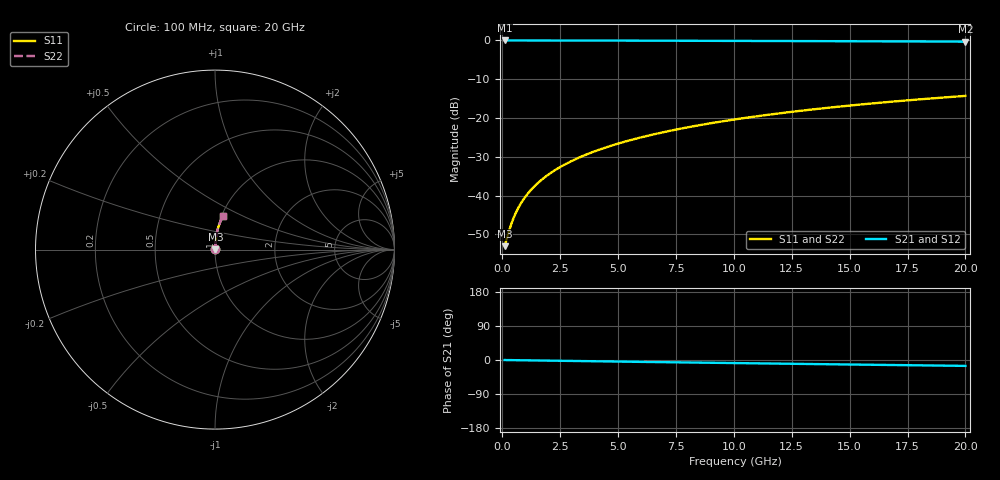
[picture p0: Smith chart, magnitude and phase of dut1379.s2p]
! Touchstone file exported from HFSS 2024.1.0
!  File:  C:/UserFiles/LocalFiles/RDL_TSV_Batchsim/temp_RDL_bottom_1379_1780371494.aedt
!  Generated:  11:41:04 AM Jun  2, 2026
!  Design:  RDL_bottom
!  Project:  temp_RDL_bottom_1379_1780371494
!  Setup:  Setup1
!  Solution:  Sweep
! Variables:
!  dtsv = 10.80580581um
!  hbump = 3um
!  htsv = 68.6um
!  ldown = 175.21um
!  lrdl = 100um
!  p = 40
!  p1 = 41.67um
!  rhole = 1um
!  t = 450um
!  tdown = 2.41um
!  trdl = 3.915915916um
!  wdown = 14.94um
!  wrdl = 20um
# GHz S MA R 50.000000
! Terminal data exported
! Port[1] = RDL1_T1
! Port[2] = RDL1_T2
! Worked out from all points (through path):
!   200 points, 100 MHz to 20 GHz, reference 50 ohm
!   highest |S21| = -0.02 dB at 100 MHz (marker M1); lowest = -0.3 dB at 20 GHz (marker M2)
!   group delay of S21, straight-line fit = 2.15 ps
!   lowest |S11| = -53.0 dB at 100 MHz (marker M3), VSWR 1.00, Z = 50.2 + j0.0983 ohm
!   |S11| at or under -10 dB: start of sweep to end of sweep
!   |S22| runs from -53.0 to -14.3 dB; largest |S21 - S12| = 2.7e-15
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0.1  0.002235 26.0  0.998 -0.1  0.998 -0.1  0.002235 26.0
! Gamma 0 0 0 0
! Port Impedance 50 0 50 0
0.3  0.003575 54.7  0.9979 -0.3  0.9979 -0.3  0.003575 54.7
0.4  0.004406 61.4  0.9979 -0.3  0.9979 -0.3  0.004406 61.4
0.5  0.00527 65.9  0.9978 -0.4  0.9978 -0.4  0.00527 65.9
0.6  0.006149 69.1  0.9978 -0.5  0.9978 -0.5  0.006149 69.1
0.7  0.007034 71.5  0.9977 -0.6  0.9977 -0.6  0.007034 71.5
0.9  0.008816 74.8  0.9976 -0.8  0.9976 -0.8  0.008816 74.8
1.2  0.01151 78.0  0.9974 -1.0  0.9974 -1.0  0.01151 78.0
1.4  0.01331 79.4  0.9973 -1.2  0.9973 -1.2  0.01331 79.4
1.7  0.01603 80.9  0.9971 -1.4  0.9971 -1.4  0.01603 80.9
2.2  0.02061 82.6  0.9968 -1.9  0.9968 -1.9  0.02061 82.6
2.8  0.02614 83.8  0.9963 -2.4  0.9963 -2.4  0.02614 83.8
3.5  0.03266 84.6  0.9956 -2.9  0.9956 -2.9  0.03266 84.6
4.2  0.03924 85.0  0.9948 -3.5  0.9948 -3.5  0.03924 85.0
5  0.04683 85.2  0.9938 -4.2  0.9938 -4.2  0.04683 85.2
5.9  0.05545 85.2  0.9925 -4.9  0.9925 -4.9  0.05545 85.2
6.8  0.06415 85.0  0.9911 -5.6  0.9911 -5.6  0.06415 85.0
8.3  0.07879 84.5  0.9885 -6.8  0.9885 -6.8  0.07879 84.5
10.1  0.0965 83.5  0.9851 -8.2  0.9851 -8.2  0.09651 83.6
13.4  0.129 81.4  0.9784 -10.7  0.9784 -10.7  0.129 81.4
16.7  0.1612 79.0  0.9712 -13.1  0.9712 -13.1  0.1612 79.0
20  0.1927 76.5  0.9635 -15.5  0.9635 -15.5  0.1927 76.5
